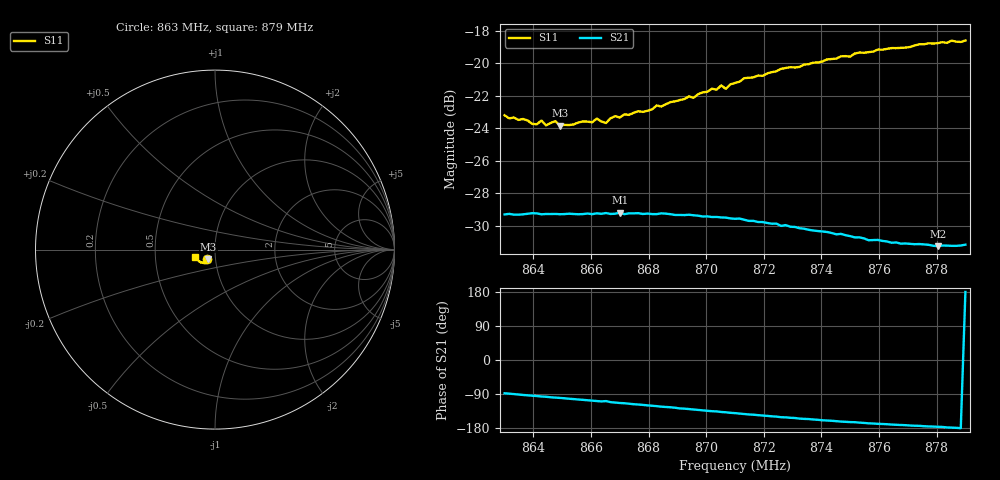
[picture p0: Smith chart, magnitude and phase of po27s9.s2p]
# HZ S RI R 50
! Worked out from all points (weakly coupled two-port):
!   101 points, 863 MHz to 879 MHz, reference 50 ohm
!   highest |S21| = -29.18 dB at 867 MHz (marker M1); lowest = -31.2 dB at 878.04 MHz (marker M2)
!   lowest |S11| = -23.8 dB at 864.92 MHz (marker M3), VSWR 1.14, Z = 46.2 - j4.9 ohm
!   |S11| at or under -10 dB: start of sweep to end of sweep
!   S12 and S22 are empty: the file has one direction only
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8.63e8  -0.0457 -0.0519  0.00132 -0.0343  0 0  0 0
8.6396e8  -0.0395 -0.0517  -0.00254 -0.0345  0 0  0 0
8.6428e8  -0.0385 -0.0544  -0.00377 -0.0341  0 0  0 0
8.6444e8  -0.0379 -0.0521  -0.00419 -0.0342  0 0  0 0
8.6476e8  -0.0379 -0.0545  -0.00551 -0.034  0 0  0 0
8.6492e8  -0.0366 -0.0528  -0.006 -0.0338  0 0  0 0
8.6572e8  -0.0351 -0.0562  -0.00897 -0.0332  0 0  0 0
8.6604e8  -0.0342 -0.0563  -0.0102 -0.0329  0 0  0 0
8.662e8  -0.0352 -0.0576  -0.0109 -0.0328  0 0  0 0
8.6652e8  -0.0323 -0.057  -0.011 -0.0329  0 0  0 0
8.6684e8  -0.0342 -0.0596  -0.0131 -0.0319  0 0  0 0
8.67e8  -0.0341 -0.0589  -0.0138 -0.0319  0 0  0 0
8.6844e8  -0.0354 -0.0645  -0.0189 -0.0289  0 0  0 0
8.694e8  -0.0388 -0.0689  -0.0218 -0.0265  0 0  0 0
8.6956e8  -0.0395 -0.0675  -0.0222 -0.0259  0 0  0 0
8.7052e8  -0.0443 -0.073  -0.0247 -0.0228  0 0  0 0
8.7068e8  -0.0435 -0.0712  -0.0249 -0.0225  0 0  0 0
8.71e8  -0.0469 -0.0732  -0.0256 -0.0213  0 0  0 0
8.7372e8  -0.0674 -0.0743  -0.0282 -0.012  0 0  0 0
8.7644e8  -0.0923 -0.062  -0.0277 -0.00469  0 0  0 0
8.7804e8  -0.1041 -0.0492  -0.0274 -0.00178  0 0  0 0
8.79e8  -0.1103 -0.0403  -0.0277 0.00025  0 0  0 0
